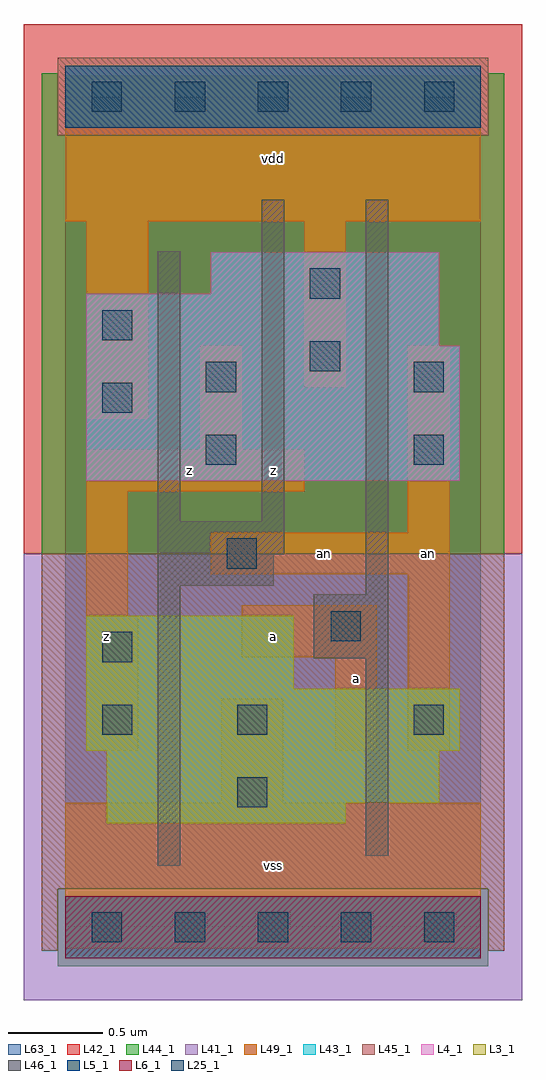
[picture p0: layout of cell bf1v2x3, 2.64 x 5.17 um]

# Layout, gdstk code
import gdstk
lib = gdstk.Library(unit=1e-6, precision=1e-09)
def R(c, l, rs):  # rectangles x0, y0, x1, y1
    for r in rs: c.add(gdstk.rectangle(r[:2], r[2:], *l))
def A(c, l, x, y, w, h, nx, ny, dx, dy):  # array of equal rectangles
    R(c, l, [(x+i*dx, y+j*dy, x+i*dx+w, y+j*dy+h) for i in range(nx) for j in range(ny)])
L3_1 = (3, 1)
L4_1 = (4, 1)
L5_1 = (5, 1)
L6_1 = (6, 1)
L25_1 = (25, 1)
L41_1 = (41, 1)
L42_1 = (42, 1)
L43_1 = (43, 1)
L44_1 = (44, 1)
L45_1 = (45, 1)
L46_1 = (46, 1)
L49_1 = (49, 1)
L63_1 = (63, 1)

bf1v2x3 = lib.new_cell('bf1v2x3')
R(bf1v2x3, L3_1, [(0.22,0.55,1.485,0.66), (0.22,0.66,1.98,0.935), (0.11,0.935,2.09,1.265), (0.11,1.265,1.21,1.65)])
R(bf1v2x3, L4_1, [(0.11,2.365,2.09,3.08), (0.11,3.08,1.98,3.355), (0.77,3.355,1.98,3.575)])
R(bf1v2x3, L5_1, [(0,4.235,2.2,4.565)])
R(bf1v2x3, L6_1, [(0,-0.165,2.2,0.165)])
A(bf1v2x3, L25_1, 0.14, -0.08, 0.16, 0.16, 5, 2, 0.44, 4.4)
R(bf1v2x3, L25_1, [(0.91,0.635,1.07,0.795), (0.195,1.02,0.355,1.18), (0.91,1.02,1.07,1.18), (1.845,1.02,2.005,1.18), (0.195,1.405,0.355,1.565), (1.405,1.515,1.565,1.675), (0.855,1.9,1.015,2.06), (0.745,2.45,0.905,2.61), (1.845,2.45,2.005,2.61), (0.195,2.725,0.355,2.885), (0.745,2.835,0.905,2.995), (1.845,2.835,2.005,2.995), (1.295,2.945,1.455,3.105), (0.195,3.11,0.355,3.27), (1.295,3.33,1.455,3.49)])
R(bf1v2x3, L41_1, [(-0.22,-0.385,2.42,1.98)])
R(bf1v2x3, L42_1, [(-0.22,1.98,2.42,4.785)])
R(bf1v2x3, L43_1, [(0,-0.165,2.2,0.165), (0.22,0.55,1.485,0.66), (0.22,0.66,1.98,0.935), (0.11,0.935,2.09,1.265), (0.11,1.265,1.21,1.65), (0.11,2.365,2.09,3.08), (0.11,3.08,1.98,3.355), (0.77,3.355,1.98,3.575), (0,4.235,2.2,4.565)])
R(bf1v2x3, L44_1, [(-0.04,-0.205,2.24,0.205), (-0.125,1.98,2.325,4.195), (-0.125,4.195,-0.04,4.525), (2.24,4.195,2.325,4.525)])
R(bf1v2x3, L45_1, [(-0.125,-0.125,-0.04,0.205), (2.24,-0.125,2.325,0.205), (-0.125,0.205,2.325,1.98), (-0.04,4.195,2.24,4.605)])
R(bf1v2x3, L46_1, [(0.49,0.325,0.61,1.81), (1.59,0.38,1.71,1.425), (1.315,1.425,1.71,1.765), (1.59,1.765,1.71,3.855), (0.49,1.81,1.105,1.975), (0.49,1.975,1.16,2.15), (0.49,2.15,0.61,3.58), (1.04,2.15,1.16,3.855)])
R(bf1v2x3, L49_1, [(0,-0.11,2.2,0.66), (0.825,0.66,1.155,1.21), (0.11,0.935,0.385,1.65), (1.43,0.935,1.65,1.43), (1.815,0.935,2.035,1.87), (0.935,1.43,1.65,1.705), (0.11,1.65,0.33,2.31), (0.77,1.87,2.035,2.09), (1.815,2.09,2.035,3.08), (0.11,2.31,1.265,2.53), (0.715,2.53,0.935,3.08), (0.11,2.695,0.44,3.74), (1.265,2.86,1.485,3.74), (0,3.74,2.2,4.51)])
R(bf1v2x3, L63_1, [(0,0,2.2,4.4)])
bf1v2x3.add(gdstk.Label('z', (0.22,1.54), layer=49, texttype=1))
bf1v2x3.add(gdstk.Label('z', (0.66,2.42), layer=49, texttype=1))
bf1v2x3.add(gdstk.Label('vss', (1.1,0.33), layer=49, texttype=1))
bf1v2x3.add(gdstk.Label('a', (1.1,1.54), layer=49, texttype=1))
bf1v2x3.add(gdstk.Label('a', (1.54,1.32), layer=49, texttype=1))
bf1v2x3.add(gdstk.Label('z', (1.1,2.42), layer=49, texttype=1))
bf1v2x3.add(gdstk.Label('vdd', (1.1,4.07), layer=49, texttype=1))
bf1v2x3.add(gdstk.Label('an', (1.375,1.98), layer=49, texttype=1))
bf1v2x3.add(gdstk.Label('an', (1.925,1.98), layer=49, texttype=1))

lib.write_gds('bf1v2x3.gds')
